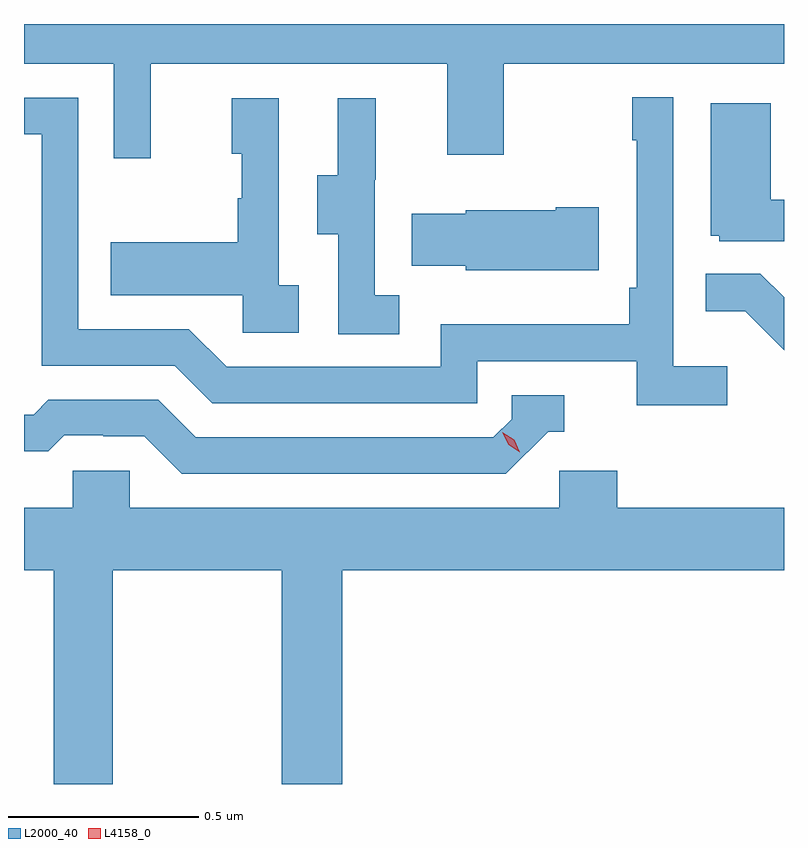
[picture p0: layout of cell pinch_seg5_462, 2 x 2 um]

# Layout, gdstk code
import gdstk
lib = gdstk.Library(unit=1e-6, precision=1e-09)
def P(c, l, *ps):  # polygons
    for p in ps: c.add(gdstk.Polygon(p, *l))
L2000_40 = (2000, 40)
L4158_0 = (4158, 0)

pinch_seg5_462 = lib.new_cell('pinch_seg5_462')
P(pinch_seg5_462, L2000_40, [(923.111,856.76),(923.891,856.76),(923.891,856.521),(924.039,856.521),(924.039,856.76),(924.777,856.76),(924.777,856.865),(922.777,856.865),(922.777,856.76),(923.013,856.76),(923.013,856.512),(923.111,856.512)],
  [(924.628,855.964),(924.486,855.964),(924.486,856.672),(924.378,856.672),(924.378,856.559),(924.39,856.559),(924.39,856.171),(924.37,856.171),(924.37,856.075),(923.874,856.075),(923.874,855.963),(923.31,855.963),(923.211,856.062),(922.92,856.062),(922.92,856.671),(922.777,856.671),(922.777,856.575),(922.824,856.575),(922.824,855.966),(923.174,855.966),(923.273,855.867),(923.97,855.867),(923.97,855.978),(924.389,855.978),(924.389,855.862),(924.628,855.862)],
  [(923.764,856.151),(923.7,856.151),(923.7,856.455),(923.702,856.455),(923.702,856.669),(923.603,856.669),(923.603,856.467),(923.549,856.467),(923.549,856.312),(923.604,856.312),(923.604,856.048),(923.764,856.048)],
  [(923.5,856.178),(923.448,856.178),(923.448,856.669),(923.324,856.669),(923.324,856.524),(923.35,856.524),(923.35,856.406),(923.34,856.406),(923.34,856.291),(923.005,856.291),(923.005,856.151),(923.352,856.151),(923.352,856.053),(923.5,856.053)],
  [(924.777,856.402),(924.742,856.402),(924.742,856.657),(924.584,856.657),(924.584,856.308),(924.606,856.308),(924.606,856.293),(924.777,856.293)],
  [(924.289,856.383),(924.176,856.383),(924.176,856.375),(923.94,856.375),(923.94,856.366),(923.797,856.366),(923.797,856.229),(923.94,856.229),(923.94,856.217),(924.289,856.217)],
  [(924.777,856.146),(924.715,856.208),(924.571,856.208),(924.571,856.109),(924.675,856.109),(924.777,856.007)],
  [(924.156,855.792),(924.199,855.792),(924.199,855.888),(924.06,855.888),(924.06,855.825),(924.012,855.777),(923.229,855.777),(923.13,855.876),(922.841,855.876),(922.802,855.837),(922.777,855.837),(922.777,855.741),(922.841,855.741),(922.883,855.783),(922.986,855.783),(922.986,855.78),(923.093,855.78),(923.192,855.681),(924.045,855.681)],
  [(923.01,855.428),(923.455,855.428),(923.455,854.865),(923.615,854.865),(923.615,855.428),(924.777,855.428),(924.777,855.592),(924.338,855.592),(924.338,855.69),(924.186,855.69),(924.186,855.592),(923.055,855.592),(923.055,855.69),(922.905,855.69),(922.905,855.592),(922.777,855.592),(922.777,855.428),(922.855,855.428),(922.855,854.865),(923.01,854.865)])
P(pinch_seg5_462, L4158_0, [(924.082,855.738),(924.052,855.758),(924.036,855.791),(924.036,855.791),(924.036,855.791),(924.067,855.771),(924.082,855.738),(924.082,855.738)])

lib.write_gds('pinch_seg5_462.gds')
